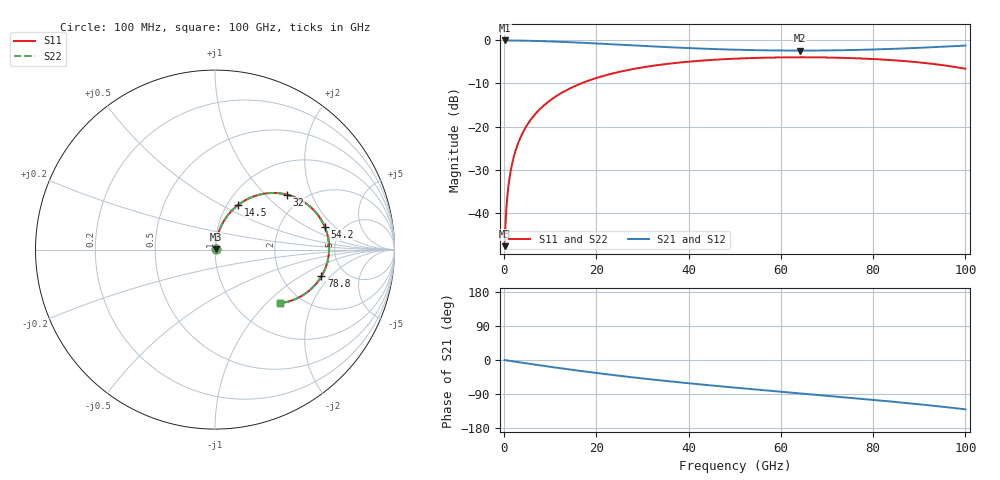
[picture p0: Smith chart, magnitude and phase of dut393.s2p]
! Touchstone file exported from HFSS 2026.1.0
!  File:  C:/ffzhzh/LocalFiles/Ansys_Project_Files/temp_train_RDL_393_1783503951_55944.aedt
!  Generated:  05:47:04 PM Jul  8, 2026
!  Design:  RDL
!  Project:  temp_train_RDL_393_1783503951_55944
! Variables:
!  h_bsmrdl = 2um
!  h_ox = 20um
!  h_rdl = 5um
!  h_sub = 80um
!  h_tmrdl = 3.34um
!  h_tsv = 80um
!  h_via = 3um
!  l_bsmrdl = 300um
!  l_sub = 856.41um
!  l_tmrdl = 456.41um
!  m_sub = 200um
!  pitch = 43.16um
!  r_tsv = 6um
!  s_tmrdl = 10um
!  w_bsmrdl = 18um
!  w_sub = 500um
!  w_tmrdl = 14.56um
!  x_tsv_center1 = 463.69um
!  x_tsv_center2 = 781.69um
!  x_tsv_center3 = 1252.66um
!  x_tsv_center4 = 1570.66um
!  x_tsv_center5 = 2041.63um
!  x_tsv_center6 = 2359.63um
# GHz S MA R 50.000000
! Terminal data exported
! Port[1] = TM_RDL1_1_T1
! Port[2] = TM_RDL1_1_T2
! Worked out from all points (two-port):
!   1000 points, 100 MHz to 100 GHz, reference 50 ohm
!   highest |S21| = -0.03 dB at 100 MHz (marker M1); lowest = -2.4 dB at 64.2 GHz (marker M2)
!   |S21| within 3 dB of the highest: start of sweep to end of sweep
!   lowest |S11| = -47.7 dB at 100 MHz (marker M3), VSWR 1.01, Z = 50.3 + j0.226 ohm
!   |S11| at or under -10 dB: start of sweep to 16.68 GHz
!   |S22| runs from -47.7 to -3.9 dB; largest |S21 - S12| = 1.5e-14
!   S11 on the Smith chart (normalised r, x): 100 MHz: 1.01, +0.00; 14.5 GHz: 1.12, +0.61; 32 GHz: 1.65, +1.35; 54.2 GHz: 3.65, +1.52; 78.8 GHz: 3.34, -1.58; 100 GHz: 1.57, -1.20
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0.1  0.004108 33.1  0.9966 -0.2  0.9966 -0.2  0.004108 33.1
! Gamma 0 0 0 0
! Port Impedance 50 0 50 0
0.9  0.01981 76.6  0.9958 -1.7  0.9958 -1.7  0.01981 76.6
1.4  0.03018 79.4  0.9954 -2.6  0.9954 -2.6  0.03019 79.4
1.9  0.04061 80.4  0.9948 -3.5  0.9948 -3.5  0.04061 80.4
2.4  0.05104 80.5  0.9942 -4.4  0.9942 -4.4  0.05104 80.5
3.7  0.07801 79.5  0.992 -6.8  0.992 -6.8  0.07802 79.5
5.5  0.1147 77.1  0.9876 -10.0  0.9876 -10.0  0.1147 77.1
7.9  0.1621 73.2  0.9798 -14.3  0.9798 -14.3  0.1621 73.2
10.9  0.2183 68.3  0.9675 -19.5  0.9675 -19.5  0.2183 68.3
14.5  0.2809 62.5  0.95 -25.5  0.95 -25.5  0.281 62.5
16.8  0.3181 58.9  0.9377 -29.2  0.9377 -29.2  0.3181 58.9
23.6  0.414 48.8  0.8988 -39.7  0.8988 -39.7  0.414 48.8
32  0.5046 37.4  0.8514 -51.3  0.8514 -51.3  0.5047 37.3
33.4  0.517 35.6  0.8441 -53.2  0.8441 -53.2  0.517 35.5
50.1  0.6131 16.2  0.7784 -73.0  0.7784 -73.0  0.6132 16.1
54.2  0.6246 11.8  0.7695 -77.5  0.7695 -77.5  0.6247 11.7
64.2  0.6361 1.3  0.7605 -88.1  0.7605 -88.1  0.6361 1.2
66.7  0.6354 -1.3  0.7611 -90.7  0.7611 -90.7  0.6355 -1.4
78.8  0.6115 -14.1  0.7797 -103.8  0.7797 -103.8  0.6116 -14.2
83.4  0.5926 -19.2  0.7935 -109.0  0.7935 -109.0  0.5927 -19.3
92.4  0.5372 -29.8  0.8301 -119.9  0.8301 -119.9  0.5373 -29.9
100  0.4684 -39.6  0.8688 -130.1  0.8688 -130.1  0.4685 -39.7
